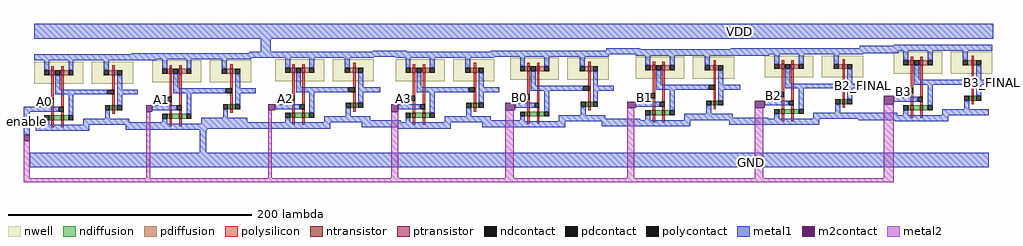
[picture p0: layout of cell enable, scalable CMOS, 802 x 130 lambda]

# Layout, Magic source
magic
tech scmos
<< metal1 >>
rect -19 80 769 92
rect 167 69 175 80
rect 61 62 81 68
rect 158 64 186 69
rect 259 65 287 70
rect 356 65 384 70
rect 451 67 479 72
rect 553 66 585 72
rect 659 68 691 74
rect 59 34 66 38
rect 156 35 163 39
rect 257 36 265 40
rect 357 36 363 40
rect 450 37 457 41
rect 554 38 561 42
rect 658 39 666 43
rect 766 42 774 46
rect -13 27 -9 31
rect 83 28 88 32
rect 185 29 189 33
rect 283 29 287 33
rect 377 30 383 34
rect 480 31 485 35
rect 587 32 595 36
rect 691 35 698 39
rect -28 20 -8 24
rect 78 21 87 25
rect 179 22 190 26
rect 280 22 288 26
rect 376 23 381 27
rect 475 24 485 28
rect 581 25 593 29
rect 687 28 697 32
rect -28 1 -23 20
rect 552 15 555 18
rect 122 11 154 12
rect 56 5 88 11
rect 122 7 183 11
rect 250 7 282 13
rect 349 7 381 13
rect 447 8 479 14
rect 552 9 584 15
rect 658 13 690 19
rect 113 6 183 7
rect 117 -14 122 6
rect -23 -26 765 -14
<< m2contact >>
rect 73 20 78 25
rect 173 21 179 26
rect 274 20 280 26
rect 368 21 376 27
rect 468 23 475 28
rect 573 23 581 29
rect 679 26 687 33
rect -28 -4 -23 1
<< metal2 >>
rect -28 -35 -23 -4
rect 73 -35 76 20
rect 173 -35 176 21
rect 274 -35 280 20
rect 368 -35 375 21
rect 468 -35 474 23
rect 573 -35 580 23
rect 679 -35 687 26
rect -28 -38 687 -35
use 2_input_AND  2_input_AND_0
transform 1 0 -7 0 1 34
box -12 -30 69 33
use 2_input_AND  2_input_AND_1
transform 1 0 90 0 1 35
box -12 -30 69 33
use 2_input_AND  2_input_AND_2
transform 1 0 191 0 1 36
box -12 -30 69 33
use 2_input_AND  2_input_AND_3
transform 1 0 290 0 1 36
box -12 -30 69 33
use 2_input_AND  2_input_AND_4
transform 1 0 384 0 1 37
box -12 -30 69 33
use 2_input_AND  2_input_AND_5
transform 1 0 487 0 1 38
box -12 -30 69 33
use 2_input_AND  2_input_AND_6
transform 1 0 593 0 1 39
box -12 -30 69 33
use 2_input_AND  2_input_AND_7
transform 1 0 699 0 1 42
box -12 -30 69 33
<< labels >>
rlabel metal1 -11 28 -10 29 1 A0
rlabel metal1 695 36 696 37 1 B3
rlabel metal1 588 32 589 34 1 B2
rlabel metal1 481 31 484 32 1 B1
rlabel metal1 379 31 380 32 1 B0
rlabel metal1 284 30 285 31 1 A3
rlabel metal1 187 30 188 31 1 A2
rlabel metal1 84 29 86 30 1 A1
rlabel metal1 64 35 64 36 1 A0_FINAL
rlabel metal1 161 36 162 37 1 A1_FINAL
rlabel metal1 261 37 262 38 1 A2_FINAL
rlabel metal1 360 37 361 38 1 A3_FINAL
rlabel metal1 454 38 455 39 1 B0_FINAL
rlabel metal1 559 40 559 41 1 B1_FINAL
rlabel metal1 658 39 666 43 1 B2_FINAL
rlabel metal1 766 42 774 46 7 B3_FINAL
rlabel metal1 569 -22 572 -21 1 GND
rlabel metal1 559 85 562 86 1 VDD
rlabel metal1 -26 11 -25 12 3 enable
<< end >>

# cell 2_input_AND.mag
magic
tech scmos
<< nwell >>
rect -12 9 28 27
rect 35 9 69 27
<< ntransistor >>
rect 52 -13 54 -9
rect 2 -21 4 -17
rect 10 -21 12 -17
<< ptransistor >>
rect 2 16 4 20
rect 10 16 12 20
rect 52 16 54 20
<< ndiffusion >>
rect 50 -13 52 -9
rect 54 -13 56 -9
rect 0 -21 2 -17
rect 4 -21 10 -17
rect 12 -21 16 -17
<< pdiffusion >>
rect 0 16 2 20
rect 4 16 5 20
rect 9 16 10 20
rect 12 16 16 20
rect 49 16 52 20
rect 54 16 56 20
<< ndcontact >>
rect 46 -13 50 -9
rect 56 -13 60 -9
rect -4 -21 0 -17
rect 16 -21 20 -17
<< pdcontact >>
rect -4 16 0 20
rect 5 16 9 20
rect 16 16 20 20
rect 45 16 49 20
rect 56 16 60 20
<< polysilicon >>
rect 2 20 4 23
rect 10 20 12 23
rect 52 20 54 24
rect 2 -3 4 16
rect 2 -17 4 -7
rect 10 -10 12 16
rect 52 4 54 16
rect 53 0 54 4
rect 52 -9 54 0
rect 10 -17 12 -14
rect 52 -16 54 -13
rect 2 -27 4 -21
rect 10 -27 12 -21
<< polycontact >>
rect 0 -7 4 -3
rect 48 0 53 4
rect 8 -14 12 -10
<< metal1 >>
rect -12 28 69 33
rect -4 20 0 28
rect 16 20 20 28
rect 45 20 49 28
rect 5 4 9 16
rect 56 4 60 16
rect 5 0 48 4
rect 56 0 69 4
rect -3 -7 0 -3
rect -3 -14 8 -10
rect 16 -17 20 0
rect 56 -9 60 0
rect 46 -20 50 -13
rect -4 -25 0 -21
rect 28 -25 66 -20
rect -11 -30 33 -25
<< labels >>
rlabel metal1 33 30 34 31 5 VDD
rlabel metal1 -1 -5 0 -4 1 A
rlabel metal1 0 -12 1 -11 1 B
rlabel metal1 37 1 38 2 1 OUT
rlabel metal1 65 2 66 3 7 OUT_FINAL
rlabel metal1 24 -29 25 -28 1 GND
<< end >>
